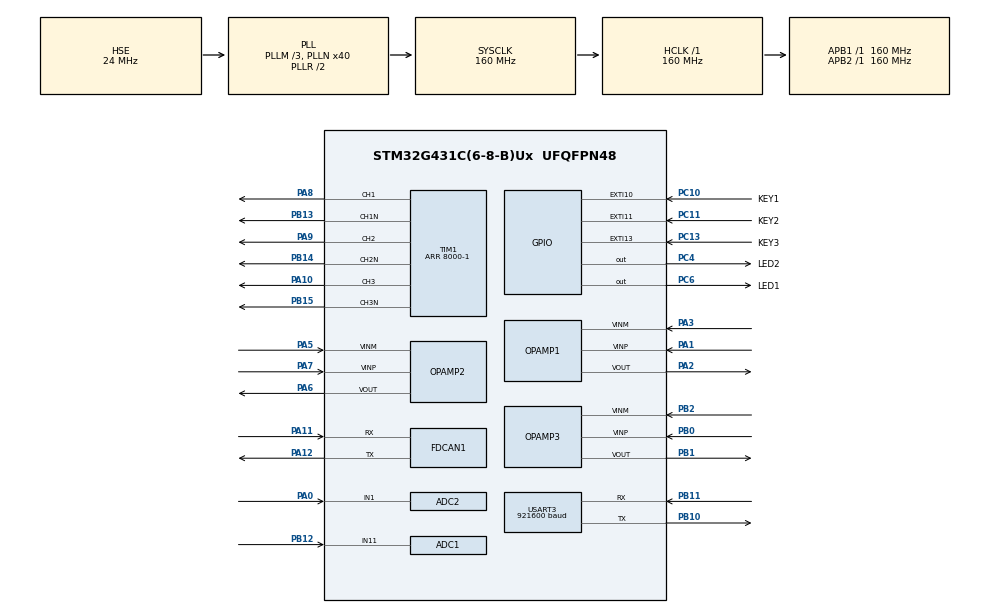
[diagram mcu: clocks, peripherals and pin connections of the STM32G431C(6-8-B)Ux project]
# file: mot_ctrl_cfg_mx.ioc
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ADC1.Channel-0\#ChannelRegularConversion=ADC_CHANNEL_11
ADC1.EnableInjectedConversion=ENABLE
ADC1.ExternalTrigInjecConv=ADC_EXTERNALTRIGINJEC_T1_CC4
ADC1.InjNumberOfConversion=2
ADC1.InjectedChannel-1\#ChannelInjectedConversion=ADC_CHANNEL_3
ADC1.InjectedChannel-2\#ChannelInjectedConversion=ADC_CHANNEL_12
ADC1.InjectedOffsetNumber-1\#ChannelInjectedConversion=ADC_OFFSET_NONE
ADC1.InjectedOffsetNumber-2\#ChannelInjectedConversion=ADC_OFFSET_NONE
ADC1.InjectedRank-1\#ChannelInjectedConversion=1
ADC1.InjectedRank-2\#ChannelInjectedConversion=2
ADC1.InjectedSamplingTime-1\#ChannelInjectedConversion=ADC_SAMPLETIME_2CYCLES_5
ADC1.InjectedSamplingTime-2\#ChannelInjectedConversion=ADC_SAMPLETIME_2CYCLES_5
ADC1.NbrOfConversionFlag=1
ADC1.OffsetNumber-0\#ChannelRegularConversion=ADC_OFFSET_NONE
ADC1.Rank-0\#ChannelRegularConversion=1
ADC1.Rank1_Channel=ADC_CHANNEL_3
ADC1.Rank2_Channel=ADC_CHANNEL_12
ADC1.SamplingTime-0\#ChannelRegularConversion=ADC_SAMPLETIME_2CYCLES_5
ADC1.master=1
ADC2.Channel-0\#ChannelRegularConversion=ADC_CHANNEL_1
ADC2.EnableInjectedConversion=ENABLE
ADC2.ExternalTrigInjecConv=ADC_EXTERNALTRIGINJEC_T1_CC4
ADC2.InjNumberOfConversion=1
ADC2.InjectedChannel-1\#ChannelInjectedConversion=ADC_CHANNEL_3
ADC2.InjectedOffsetNumber-1\#ChannelInjectedConversion=ADC_OFFSET_NONE
ADC2.InjectedRank-1\#ChannelInjectedConversion=1
ADC2.InjectedSamplingTime-1\#ChannelInjectedConversion=ADC_SAMPLETIME_2CYCLES_5
ADC2.NbrOfConversionFlag=1
ADC2.OffsetNumber-0\#ChannelRegularConversion=ADC_OFFSET_NONE
ADC2.Rank-0\#ChannelRegularConversion=1
ADC2.Rank1_Channel=ADC_CHANNEL_3
ADC2.SamplingTime-0\#ChannelRegularConversion=ADC_SAMPLETIME_2CYCLES_5
COMP1.TriggerMode=COMP_TRIGGERMODE_IT_RISING
Dma.Request0=USART3_TX
Dma.USART3_TX.0.Direction=DMA_MEMORY_TO_PERIPH
Dma.USART3_TX.0.EventEnable=DISABLE
Dma.USART3_TX.0.Instance=DMA1_Channel1
Dma.USART3_TX.0.MemDataAlignment=DMA_MDATAALIGN_BYTE
Dma.USART3_TX.0.MemInc=DMA_MINC_ENABLE
Dma.USART3_TX.0.Mode=DMA_NORMAL
Dma.USART3_TX.0.PeriphDataAlignment=DMA_PDATAALIGN_BYTE
Dma.USART3_TX.0.PeriphInc=DMA_PINC_DISABLE
Dma.USART3_TX.0.Polarity=HAL_DMAMUX_REQ_GEN_RISING
Dma.USART3_TX.0.Priority=DMA_PRIORITY_LOW
Dma.USART3_TX.0.RequestNumber=1
Dma.USART3_TX.0.SignalID=NONE
Dma.USART3_TX.0.SyncEnable=DISABLE
Dma.USART3_TX.0.SyncPolarity=HAL_DMAMUX_SYNC_NO_EVENT
Dma.USART3_TX.0.SyncRequestNumber=1
Dma.USART3_TX.0.SyncSignalID=NONE
FDCAN1.CalculateBaudRateNominal=500000
FDCAN1.CalculateTimeBitNominal=2000
FDCAN1.CalculateTimeQuantumNominal=125.0
FDCAN1.DataPrescaler=20
FDCAN1.DataTimeSeg1=10
FDCAN1.DataTimeSeg2=5
FDCAN1.ExtFiltersNbr=1
FDCAN1.NominalPrescaler=20
FDCAN1.NominalTimeSeg1=10
FDCAN1.NominalTimeSeg2=5
FDCAN1.StdFiltersNbr=1
Mcu.Family=STM32G4
Mcu.Name=STM32G431C(6-8-B)Ux
Mcu.Package=UFQFPN48
NVIC.ADC1_2_IRQn=true\:0\:0\:false\:false\:true\:true\:true\:true
NVIC.COMP1_2_3_IRQn=true\:0\:0\:false\:false\:true\:false\:true\:true
NVIC.DMA1_Channel1_IRQn=true\:0\:0\:false\:false\:true\:false\:true\:true
NVIC.EXTI15_10_IRQn=true\:0\:0\:false\:false\:true\:true\:true\:true
NVIC.FDCAN1_IT0_IRQn=true\:0\:0\:false\:false\:true\:true\:true\:true
NVIC.PriorityGroup=NVIC_PRIORITYGROUP_4
NVIC.TIM1_BRK_TIM15_IRQn=true\:0\:0\:false\:false\:true\:true\:true\:true
NVIC.TIM1_CC_IRQn=true\:0\:0\:false\:false\:true\:true\:true\:true
NVIC.TIM1_UP_TIM16_IRQn=true\:0\:0\:false\:false\:true\:true\:true\:true
NVIC.USART3_IRQn=true\:0\:0\:false\:false\:true\:true\:true\:true
PA0.Mode=IN1-Single-Ended
PA0.Signal=ADC2_IN1
PA1.Mode=Standalone
PA1.Signal=OPAMP1_VINP
PA10.Signal=S_TIM1_CH3
PA11.Mode=FDCAN_Activate
PA11.Signal=FDCAN1_RX
PA12.Mode=FDCAN_Activate
PA12.Signal=FDCAN1_TX
PA13.Mode=Serial_Wire
PA13.Signal=SYS_JTMS-SWDIO
PA14.Mode=Serial_Wire
PA14.Signal=SYS_JTCK-SWCLK
PA2.Signal=SharedAnalog_PA2
PA3.Mode=Standalone
PA3.Signal=OPAMP1_VINM
PA5.Mode=Standalone
PA5.Signal=OPAMP2_VINM
PA6.Signal=SharedAnalog_PA6
PA7.Mode=Standalone
PA7.Signal=OPAMP2_VINP
PA8.Signal=S_TIM1_CH1
PA9.Signal=S_TIM1_CH2
PB0.Mode=Standalone
PB0.Signal=OPAMP3_VINP
PB1.Signal=SharedAnalog_PB1
PB10.Mode=Asynchronous
PB10.Signal=USART3_TX
PB11.Mode=Asynchronous
PB11.Signal=USART3_RX
PB12.Mode=IN11-Single-Ended
PB12.Signal=ADC1_IN11
PB13.Mode=PWM Generation1 CH1 CH1N
PB13.Signal=TIM1_CH1N
PB14.Mode=PWM Generation2 CH2 CH2N
PB14.Signal=TIM1_CH2N
PB15.Mode=PWM Generation3 CH3 CH3N
PB15.Signal=TIM1_CH3N
PB2.Mode=Standalone
PB2.Signal=OPAMP3_VINM
PC10.GPIO_Label=KEY1
PC10.Signal=GPXTI10
PC11.GPIO_Label=KEY2
PC11.Signal=GPXTI11
PC13.GPIO_Label=KEY3
PC13.Signal=GPXTI13
PC4.GPIO_Label=LED2
PC4.PinState=GPIO_PIN_SET
PC4.Signal=GPIO_Output
PC6.GPIO_Label=LED1
PC6.PinState=GPIO_PIN_SET
PC6.Signal=GPIO_Output
PF0-OSC_IN.Mode=HSE-External-Oscillator
PF0-OSC_IN.Signal=RCC_OSC_IN
PF1-OSC_OUT.Mode=HSE-External-Oscillator
PF1-OSC_OUT.Signal=RCC_OSC_OUT
ProjectManager.HeapSize=0x200
ProjectManager.StackSize=0x400
ProjectManager.TargetToolchain=CMake
RCC.ADC12Freq_Value=160000000
RCC.AHBFreq_Value=160000000
RCC.APB1Freq_Value=160000000
RCC.APB1TimFreq_Value=160000000
RCC.APB2Freq_Value=160000000
RCC.APB2TimFreq_Value=160000000
RCC.CortexFreq_Value=160000000
RCC.EXTERNAL_CLOCK_VALUE=12288000
RCC.HCLKFreq_Value=160000000
RCC.HSE_VALUE=24000000
RCC.HSI48_VALUE=48000000
RCC.HSI_VALUE=16000000
RCC.LSE_VALUE=32768
RCC.PLLM=RCC_PLLM_DIV3
RCC.PLLN=40
RCC.PLLSourceVirtual=RCC_PLLSOURCE_HSE
RCC.SYSCLKFreq_VALUE=160000000
RCC.SYSCLKSource=RCC_SYSCLKSOURCE_PLLCLK
RCC.USBFreq_Value=160000000
RCC.VCOOutputFreq_Value=320000000
SH.S_TIM1_CH1.0=TIM1_CH1,PWM Generation1 CH1 CH1N
SH.S_TIM1_CH2.0=TIM1_CH2,PWM Generation2 CH2 CH2N
SH.S_TIM1_CH3.0=TIM1_CH3,PWM Generation3 CH3 CH3N
SH.SharedAnalog_PA2.0=OPAMP1_VOUT,Standalone
SH.SharedAnalog_PA2.1=ADC1_IN3,IN3-Single-Ended
SH.SharedAnalog_PA6.0=OPAMP2_VOUT,Standalone
SH.SharedAnalog_PA6.1=ADC2_IN3,IN3-Single-Ended
SH.SharedAnalog_PB1.0=OPAMP3_VOUT,Standalone
SH.SharedAnalog_PB1.1=ADC1_IN12,IN12-Single-Ended
SH.SharedAnalog_PB1.2=COMP1_INP,INP
TIM1.BreakFilter=2
TIM1.BreakState=TIM_BREAK_ENABLE
TIM1.Channel-PWM\ Generation1\ CH1\ CH1N=TIM_CHANNEL_1
TIM1.Channel-PWM\ Generation2\ CH2\ CH2N=TIM_CHANNEL_2
TIM1.Channel-PWM\ Generation3\ CH3\ CH3N=TIM_CHANNEL_3
TIM1.Channel-PWM\ Generation4\ No\ Output=TIM_CHANNEL_4
TIM1.ClockDivision=TIM_CLOCKDIVISION_DIV2
TIM1.CounterMode=TIM_COUNTERMODE_CENTERALIGNED1
TIM1.DeadTime=120
TIM1.OCMode_PWM-PWM\ Generation4\ No\ Output=TIM_OCMODE_PWM2
TIM1.PeriodNoDither=8000-1
TIM1.PulseNoDither_4=8000-2
TIM1.RepetitionCounter=1
TIM1.SourceBRKCOMP1=TIM_BREAKINPUTSOURCE_ENABLE
TIM1.TIM_MasterOutputTrigger=TIM_TRGO_OC4REF
USART3.BaudRate=921600
USART3.VirtualMode-Asynchronous=VM_ASYNC
VP_COMP1_VS_DAC3OUT1.Mode=INM_DAC3OUT1
VP_DAC3_VS_DACI1.Mode=DAC_OUT1_Int
VP_SYS_VS_DBSignals.Mode=DisableDeadBatterySignals
VP_TIM1_VS_ClockSourceINT.Mode=Internal
VP_TIM1_VS_no_output4.Mode=PWM Generation4 No Output
board=custom

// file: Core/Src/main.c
/* USER CODE BEGIN Header */
/**
  ******************************************************************************
  * @file           : main.c
  * @brief          : Main program body
  ******************************************************************************
  * @attention
  *
  * Copyright (c) 2025 STMicroelectronics.
  * All rights reserved.
  *
  * This software is licensed under terms that can be found in the LICENSE file
  * in the root directory of this software component.
  * If no LICENSE file comes with this software, it is provided AS-IS.
  *
  ******************************************************************************
  */
/* USER CODE END Header */
#include "main.h"
#include "adc.h"
#include "comp.h"
#include "dac.h"
#include "dma.h"
#include "fdcan.h"
#include "opamp.h"
#include "tim.h"
#include "usart.h"
#include "gpio.h"

/* USER CODE BEGIN Includes */
#include "svpwm_vf_test.h"
/* USER CODE END Includes */

/* USER CODE BEGIN PV */
const uint32_t PHASE_CURRENT_MAX = 3000;
/* USER CODE END PV */

void SystemClock_Config(void);

int main(void)
{

  /* MCU Configuration--------------------------------------------------------*/

  /* Reset of all peripherals, Initializes the Flash interface and the Systick. */
  HAL_Init();

  /* Configure the system clock */
  SystemClock_Config();

  /* Initialize all configured peripherals */
  MX_GPIO_Init();
  MX_DMA_Init();
  MX_USART3_UART_Init();
  MX_ADC1_Init();
  MX_ADC2_Init();
  MX_OPAMP1_Init();
  MX_OPAMP2_Init();
  MX_OPAMP3_Init();
  MX_TIM1_Init();
  MX_COMP1_Init();
  MX_DAC3_Init();
  MX_FDCAN1_Init();
  /* USER CODE BEGIN 2 */
  HAL_OPAMP_Start(&hopamp1);
  HAL_OPAMP_Start(&hopamp2);
  HAL_OPAMP_Start(&hopamp3);
  HAL_ADCEx_Calibration_Start(&hadc1, ADC_SINGLE_ENDED);
  HAL_ADCEx_Calibration_Start(&hadc2, ADC_SINGLE_ENDED);
  HAL_DAC_Start(&hdac3, DAC_CHANNEL_1);
  HAL_DAC_SetValue(&hdac3, DAC_CHANNEL_1, DAC_ALIGN_12B_R, PHASE_CURRENT_MAX);
  HAL_COMP_Start(&hcomp1);
  /* USER CODE END 2 */

  /* Infinite loop */
  /* USER CODE BEGIN WHILE */
  while (1)
  {
    static uint32_t last_tick = 0;
    if (HAL_GetTick() - last_tick >= 100) {
      last_tick = HAL_GetTick();

      HAL_ADC_Start(&hadc1);
      HAL_ADC_Start(&hadc2);
      HAL_ADC_PollForConversion(&hadc1, 10);
      HAL_ADC_PollForConversion(&hadc2, 10);
      // uint32_t adc1_value = HAL_ADC_GetValue(&hadc1);
      uint32_t adc2_value = HAL_ADC_GetValue(&hadc2);

      vf_sensors.vdc_sens = adc2_value * 0.02094726f;
    }
    /* USER CODE END WHILE */

  }
}

void SystemClock_Config(void)
{
  RCC_OscInitTypeDef RCC_OscInitStruct = {0};
  RCC_ClkInitTypeDef RCC_ClkInitStruct = {0};

  /** Configure the main internal regulator output voltage
  */
  HAL_PWREx_ControlVoltageScaling(PWR_REGULATOR_VOLTAGE_SCALE1_BOOST);

  /** Initializes the RCC Oscillators according to the specified parameters
  * in the RCC_OscInitTypeDef structure.
  */
  RCC_OscInitStruct.OscillatorType = RCC_OSCILLATORTYPE_HSE;
  RCC_OscInitStruct.HSEState = RCC_HSE_ON;
  RCC_OscInitStruct.PLL.PLLState = RCC_PLL_ON;
  RCC_OscInitStruct.PLL.PLLSource = RCC_PLLSOURCE_HSE;
  RCC_OscInitStruct.PLL.PLLM = RCC_PLLM_DIV3;
  RCC_OscInitStruct.PLL.PLLN = 40;
  RCC_OscInitStruct.PLL.PLLP = RCC_PLLP_DIV2;
  RCC_OscInitStruct.PLL.PLLQ = RCC_PLLQ_DIV2;
  RCC_OscInitStruct.PLL.PLLR = RCC_PLLR_DIV2;
  if (HAL_RCC_OscConfig(&RCC_OscInitStruct) != HAL_OK)
  {
    Error_Handler();
  }

  /** Initializes the CPU, AHB and APB buses clocks
  */
  RCC_ClkInitStruct.ClockType = RCC_CLOCKTYPE_HCLK|RCC_CLOCKTYPE_SYSCLK
                              |RCC_CLOCKTYPE_PCLK1|RCC_CLOCKTYPE_PCLK2;
  RCC_ClkInitStruct.SYSCLKSource = RCC_SYSCLKSOURCE_PLLCLK;
  RCC_ClkInitStruct.AHBCLKDivider = RCC_SYSCLK_DIV1;
  RCC_ClkInitStruct.APB1CLKDivider = RCC_HCLK_DIV1;
  RCC_ClkInitStruct.APB2CLKDivider = RCC_HCLK_DIV1;

  if (HAL_RCC_ClockConfig(&RCC_ClkInitStruct, FLASH_LATENCY_4) != HAL_OK)
  {
    Error_Handler();
  }
}

void Error_Handler(void)
{
  __disable_irq();
  while (1)
  {
  }
}
